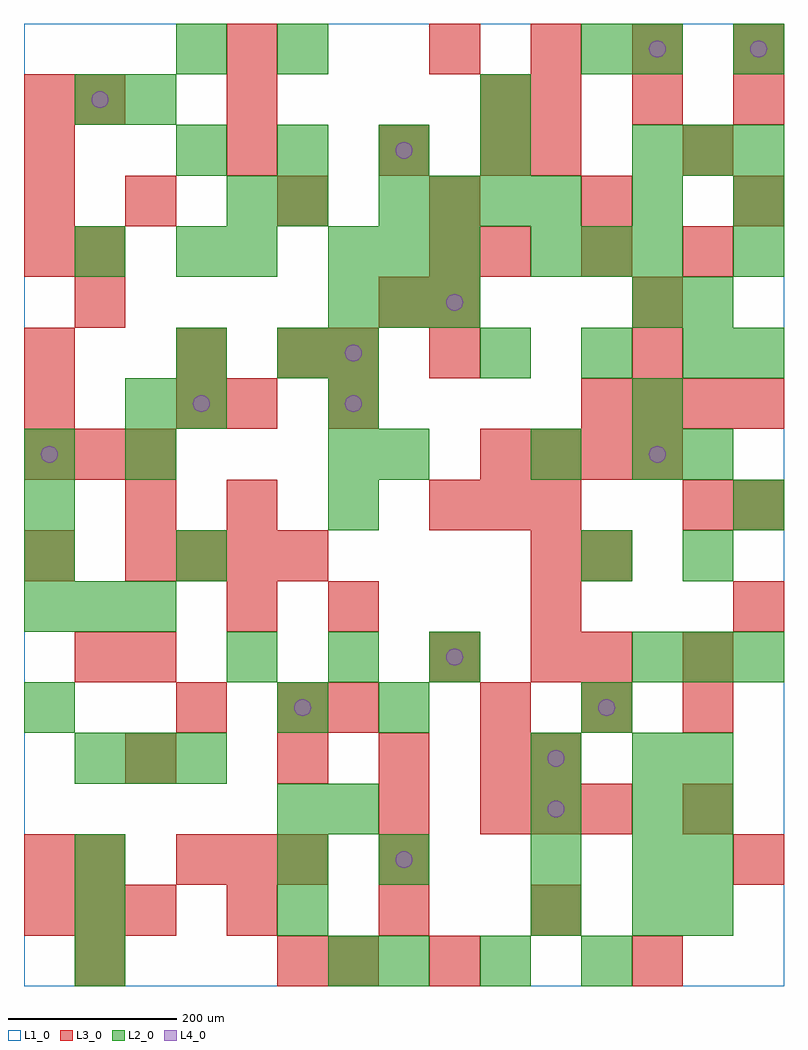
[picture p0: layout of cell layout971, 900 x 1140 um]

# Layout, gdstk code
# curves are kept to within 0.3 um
import gdstk
lib = gdstk.Library(unit=1e-6, precision=1e-09)
def R(c, l, rs):  # rectangles x0, y0, x1, y1
    for r in rs: c.add(gdstk.rectangle(r[:2], r[2:], *l))
def A(c, l, x, y, w, h, nx, ny, dx, dy):  # array of equal rectangles
    R(c, l, [(x+i*dx, y+j*dy, x+i*dx+w, y+j*dy+h) for i in range(nx) for j in range(ny)])
def P(c, l, *ps):  # polygons
    for p in ps: c.add(gdstk.Polygon(p, *l))
L1_0 = (1, 0)
L2_0 = (2, 0)
L3_0 = (3, 0)
L4_0 = (4, 0)

layout971 = lib.new_cell('layout971')
R(layout971, L1_0, [(0,0,900,1140)])
A(layout971, L2_0, 60, 0, 60, 60, 1, 3, 0, 60)
A(layout971, L2_0, 420, 0, 60, 60, 3, 1, 120, 0)
A(layout971, L2_0, 300, 60, 60, 60, 1, 3, 0, 60)
A(layout971, L2_0, 600, 60, 60, 60, 1, 4, 0, 60)
A(layout971, L2_0, 720, 60, 60, 60, 1, 4, 0, 60)
A(layout971, L2_0, 780, 60, 60, 60, 1, 4, 0, 60)
A(layout971, L2_0, 60, 240, 60, 60, 3, 1, 60, 0)
A(layout971, L2_0, 240, 360, 60, 60, 3, 1, 120, 0)
A(layout971, L2_0, 720, 360, 60, 60, 3, 2, 60, 600)
A(layout971, L2_0, 0, 420, 60, 60, 3, 1, 60, 0)
A(layout971, L2_0, 0, 480, 60, 60, 1, 3, 0, 60)
A(layout971, L2_0, 360, 540, 60, 60, 1, 4, 0, 60)
A(layout971, L2_0, 720, 660, 60, 60, 1, 3, 0, 120)
A(layout971, L2_0, 300, 720, 60, 60, 1, 3, 0, 180)
A(layout971, L2_0, 540, 720, 60, 60, 3, 1, 120, 0)
A(layout971, L2_0, 360, 780, 60, 60, 3, 2, 60, 60)
A(layout971, L2_0, 600, 840, 60, 60, 3, 1, 60, 0)
A(layout971, L2_0, 420, 900, 60, 60, 4, 1, 60, 0)
A(layout971, L2_0, 180, 960, 60, 60, 4, 1, 120, 0)
R(layout971, L2_0, [(360,0,420,60), (420,120,480,180), (360,180,420,240), (0,300,60,360), (300,300,360,360), (420,300,480,360), (660,300,720,360), (180,480,240,540), (660,480,720,540), (780,480,840,540), (840,540,900,600), (120,600,180,660), (420,600,480,660), (600,600,660,660), (720,600,780,660), (780,600,840,660), (120,660,180,720), (180,660,240,720), (180,720,240,780), (840,720,900,780), (780,780,840,840), (60,840,120,900), (180,840,240,900), (240,840,300,900), (840,840,900,900), (240,900,300,960), (840,900,900,960), (60,1020,120,1080), (120,1020,180,1080), (540,1020,600,1080), (180,1080,240,1140), (660,1080,720,1140), (720,1080,780,1140), (840,1080,900,1140)])
A(layout971, L3_0, 480, 0, 60, 60, 1, 3, 0, 360)
A(layout971, L3_0, 0, 60, 60, 60, 3, 2, 60, 540)
A(layout971, L3_0, 240, 60, 60, 60, 3, 1, 180, 0)
A(layout971, L3_0, 180, 120, 60, 60, 3, 1, 60, 0)
A(layout971, L3_0, 540, 180, 60, 60, 3, 1, 60, 0)
A(layout971, L3_0, 780, 180, 60, 60, 1, 3, 0, 180)
A(layout971, L3_0, 300, 240, 60, 60, 3, 1, 120, 0)
A(layout971, L3_0, 600, 240, 60, 60, 1, 3, 0, 120)
A(layout971, L3_0, 540, 300, 60, 60, 3, 2, 120, 540)
A(layout971, L3_0, 240, 420, 60, 60, 1, 3, 0, 120)
A(layout971, L3_0, 360, 420, 60, 60, 3, 1, 240, 0)
A(layout971, L3_0, 120, 480, 60, 60, 4, 1, 60, 0)
A(layout971, L3_0, 480, 540, 60, 60, 3, 1, 60, 0)
A(layout971, L3_0, 540, 600, 60, 60, 4, 1, 60, 0)
A(layout971, L3_0, 660, 660, 60, 60, 4, 1, 60, 0)
A(layout971, L3_0, 0, 840, 60, 60, 1, 4, 0, 60)
A(layout971, L3_0, 120, 900, 60, 60, 5, 1, 180, 0)
A(layout971, L3_0, 240, 960, 60, 60, 1, 3, 0, 60)
A(layout971, L3_0, 600, 1020, 60, 60, 3, 1, 120, 0)
A(layout971, L3_0, 480, 1080, 60, 60, 4, 1, 120, 0)
R(layout971, L3_0, [(60,0,120,60), (300,0,360,60), (360,0,420,60), (720,0,780,60), (0,120,60,180), (60,120,120,180), (420,120,480,180), (840,120,900,180), (420,180,480,240), (120,240,180,300), (180,300,240,360), (300,300,360,360), (360,300,420,360), (60,360,120,420), (120,360,180,420), (660,360,720,420), (0,480,60,540), (660,480,720,540), (120,540,180,600), (840,540,900,600), (0,660,60,720), (180,660,240,720), (360,660,420,720), (0,720,60,780), (180,720,240,780), (300,720,360,780), (360,720,420,780), (720,720,780,780), (60,780,120,840), (420,780,480,840), (480,780,540,840), (720,780,780,840), (60,840,120,900), (480,840,540,900), (420,960,480,1020), (540,960,600,1020), (600,960,660,1020), (780,960,840,1020), (60,1020,120,1080), (540,1020,600,1080)])
P(layout971, L4_0, [(40,630),(39.239,633.827),(37.071,637.071),(33.827,639.239),(30,640),(26.173,639.239),(22.929,637.071),(20.761,633.827),(20,630),(20.761,626.173),(22.929,622.929),(26.173,620.761),(30,620),(33.827,620.761),(37.071,622.929),(39.239,626.173)],
  [(100,1050),(99.239,1053.827),(97.071,1057.071),(93.827,1059.239),(90,1060),(86.173,1059.239),(82.929,1057.071),(80.761,1053.827),(80,1050),(80.761,1046.173),(82.929,1042.929),(86.173,1040.761),(90,1040),(93.827,1040.761),(97.071,1042.929),(99.239,1046.173)],
  [(220,690),(219.239,693.827),(217.071,697.071),(213.827,699.239),(210,700),(206.173,699.239),(202.929,697.071),(200.761,693.827),(200,690),(200.761,686.173),(202.929,682.929),(206.173,680.761),(210,680),(213.827,680.761),(217.071,682.929),(219.239,686.173)],
  [(340,330),(339.239,333.827),(337.071,337.071),(333.827,339.239),(330,340),(326.173,339.239),(322.929,337.071),(320.761,333.827),(320,330),(320.761,326.173),(322.929,322.929),(326.173,320.761),(330,320),(333.827,320.761),(337.071,322.929),(339.239,326.173)],
  [(400,690),(399.239,693.827),(397.071,697.071),(393.827,699.239),(390,700),(386.173,699.239),(382.929,697.071),(380.761,693.827),(380,690),(380.761,686.173),(382.929,682.929),(386.173,680.761),(390,680),(393.827,680.761),(397.071,682.929),(399.239,686.173)],
  [(400,750),(399.239,753.827),(397.071,757.071),(393.827,759.239),(390,760),(386.173,759.239),(382.929,757.071),(380.761,753.827),(380,750),(380.761,746.173),(382.929,742.929),(386.173,740.761),(390,740),(393.827,740.761),(397.071,742.929),(399.239,746.173)],
  [(460,150),(459.239,153.827),(457.071,157.071),(453.827,159.239),(450,160),(446.173,159.239),(442.929,157.071),(440.761,153.827),(440,150),(440.761,146.173),(442.929,142.929),(446.173,140.761),(450,140),(453.827,140.761),(457.071,142.929),(459.239,146.173)],
  [(460,990),(459.239,993.827),(457.071,997.071),(453.827,999.239),(450,1000),(446.173,999.239),(442.929,997.071),(440.761,993.827),(440,990),(440.761,986.173),(442.929,982.929),(446.173,980.761),(450,980),(453.827,980.761),(457.071,982.929),(459.239,986.173)],
  [(520,390),(519.239,393.827),(517.071,397.071),(513.827,399.239),(510,400),(506.173,399.239),(502.929,397.071),(500.761,393.827),(500,390),(500.761,386.173),(502.929,382.929),(506.173,380.761),(510,380),(513.827,380.761),(517.071,382.929),(519.239,386.173)],
  [(520,810),(519.239,813.827),(517.071,817.071),(513.827,819.239),(510,820),(506.173,819.239),(502.929,817.071),(500.761,813.827),(500,810),(500.761,806.173),(502.929,802.929),(506.173,800.761),(510,800),(513.827,800.761),(517.071,802.929),(519.239,806.173)],
  [(640,210),(639.239,213.827),(637.071,217.071),(633.827,219.239),(630,220),(626.173,219.239),(622.929,217.071),(620.761,213.827),(620,210),(620.761,206.173),(622.929,202.929),(626.173,200.761),(630,200),(633.827,200.761),(637.071,202.929),(639.239,206.173)],
  [(640,270),(639.239,273.827),(637.071,277.071),(633.827,279.239),(630,280),(626.173,279.239),(622.929,277.071),(620.761,273.827),(620,270),(620.761,266.173),(622.929,262.929),(626.173,260.761),(630,260),(633.827,260.761),(637.071,262.929),(639.239,266.173)],
  [(700,330),(699.239,333.827),(697.071,337.071),(693.827,339.239),(690,340),(686.173,339.239),(682.929,337.071),(680.761,333.827),(680,330),(680.761,326.173),(682.929,322.929),(686.173,320.761),(690,320),(693.827,320.761),(697.071,322.929),(699.239,326.173)],
  [(760,630),(759.239,633.827),(757.071,637.071),(753.827,639.239),(750,640),(746.173,639.239),(742.929,637.071),(740.761,633.827),(740,630),(740.761,626.173),(742.929,622.929),(746.173,620.761),(750,620),(753.827,620.761),(757.071,622.929),(759.239,626.173)],
  [(760,1110),(759.239,1113.827),(757.071,1117.071),(753.827,1119.239),(750,1120),(746.173,1119.239),(742.929,1117.071),(740.761,1113.827),(740,1110),(740.761,1106.173),(742.929,1102.929),(746.173,1100.761),(750,1100),(753.827,1100.761),(757.071,1102.929),(759.239,1106.173)],
  [(880,1110),(879.239,1113.827),(877.071,1117.071),(873.827,1119.239),(870,1120),(866.173,1119.239),(862.929,1117.071),(860.761,1113.827),(860,1110),(860.761,1106.173),(862.929,1102.929),(866.173,1100.761),(870,1100),(873.827,1100.761),(877.071,1102.929),(879.239,1106.173)])

lib.write_gds('layout971.gds')
